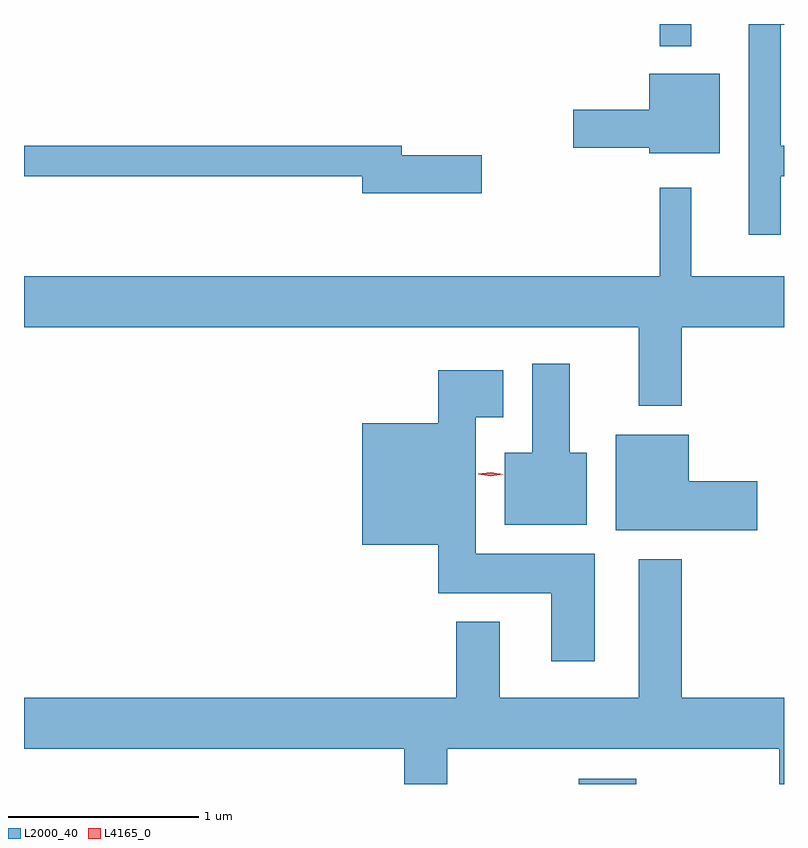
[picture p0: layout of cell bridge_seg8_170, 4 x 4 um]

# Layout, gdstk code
import gdstk
lib = gdstk.Library(unit=1e-6, precision=1e-09)
def R(c, l, rs):  # rectangles x0, y0, x1, y1
    for r in rs: c.add(gdstk.rectangle(r[:2], r[2:], *l))
def P(c, l, *ps):  # polygons
    for p in ps: c.add(gdstk.Polygon(p, *l))
L2000_40 = (2000, 40)
L4165_0 = (4165, 0)

bridge_seg8_170 = lib.new_cell('bridge_seg8_170')
R(bridge_seg8_170, L2000_40, [(1410.766,1936.131,1411.069,1936.159), (1411.191,1940.013,1411.359,1940.131)])
P(bridge_seg8_170, L2000_40, [(1411.829,1939.331),(1411.846,1939.331),(1411.846,1939.489),(1411.829,1939.489),(1411.829,1940.126),(1411.846,1940.126),(1411.846,1940.131),(1411.661,1940.131),(1411.661,1939.023),(1411.829,1939.023)],
  [(1411.509,1939.869),(1411.136,1939.869),(1411.136,1939.679),(1410.736,1939.679),(1410.736,1939.481),(1411.136,1939.481),(1411.136,1939.451),(1411.509,1939.451)],
  [(1410.254,1939.439),(1409.834,1939.439),(1409.834,1939.489),(1407.846,1939.489),(1407.846,1939.331),(1409.626,1939.331),(1409.626,1939.241),(1410.254,1939.241)],
  [(1411.309,1938.536),(1411.846,1938.536),(1411.846,1938.804),(1411.359,1938.804),(1411.359,1939.268),(1411.191,1939.268),(1411.191,1938.804),(1407.846,1938.804),(1407.846,1938.536),(1411.081,1938.536),(1411.081,1938.121),(1411.309,1938.121)],
  [(1410.809,1937.874),(1410.719,1937.874),(1410.719,1938.344),(1410.521,1938.344),(1410.521,1937.874),(1410.376,1937.874),(1410.376,1937.496),(1410.809,1937.496)],
  [(1410.849,1937.344),(1410.224,1937.344),(1410.224,1938.061),(1410.369,1938.061),(1410.369,1938.309),(1410.026,1938.309),(1410.026,1938.029),(1409.626,1938.029),(1409.626,1937.391),(1410.026,1937.391),(1410.026,1937.136),(1410.621,1937.136),(1410.621,1936.776),(1410.849,1936.776)],
  [(1411.704,1937.724),(1411.344,1937.724),(1411.344,1937.969),(1410.961,1937.969),(1410.961,1937.466),(1411.704,1937.466)],
  [(1410.074,1936.316),(1411.821,1936.316),(1411.821,1936.131),(1411.846,1936.131),(1411.846,1936.584),(1411.309,1936.584),(1411.309,1937.314),(1411.081,1937.314),(1411.081,1936.584),(1410.349,1936.584),(1410.349,1936.984),(1410.121,1936.984),(1410.121,1936.584),(1407.846,1936.584),(1407.846,1936.316),(1409.846,1936.316),(1409.846,1936.131),(1410.074,1936.131)])
P(bridge_seg8_170, L4165_0, [(1410.302,1937.752),(1410.237,1937.762),(1410.236,1937.763),(1410.237,1937.763),(1410.302,1937.772),(1410.368,1937.762),(1410.368,1937.761),(1410.368,1937.761)])

lib.write_gds('bridge_seg8_170.gds')
